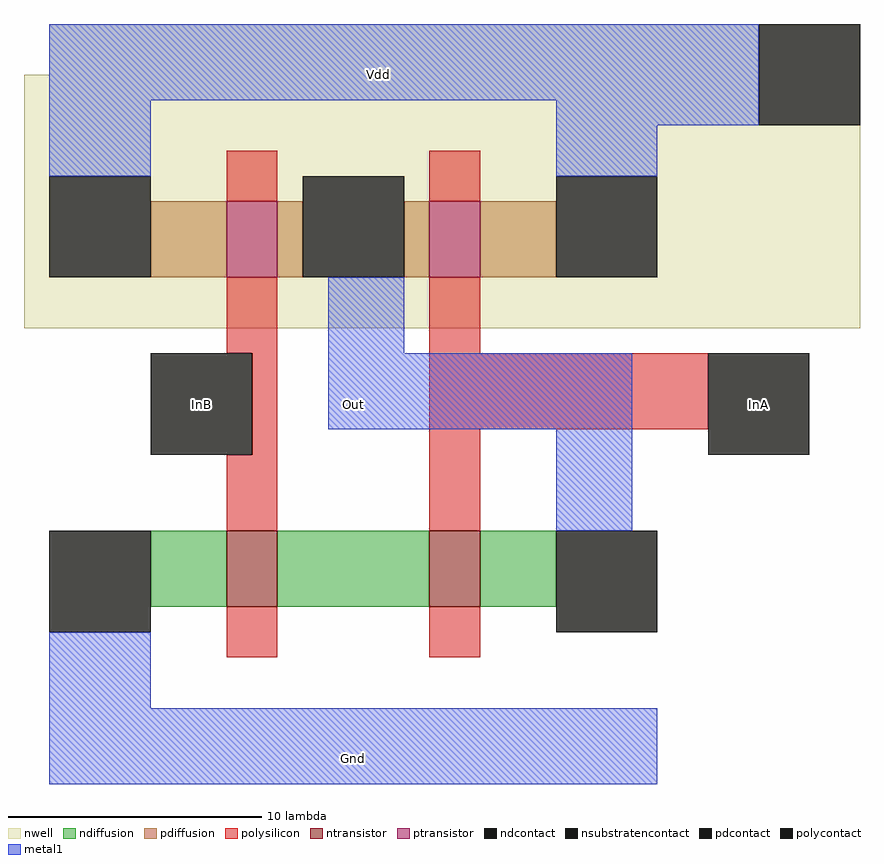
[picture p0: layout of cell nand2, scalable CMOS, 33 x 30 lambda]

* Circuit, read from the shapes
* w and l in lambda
.subckt nand2 Gnd InA InB Out Vdd
M1 n1 InB Gnd VSUBS nfet w=3 l=2
M2 Out InA n1 VSUBS nfet w=3 l=2
M3 Out InB Vdd Vdd pfet w=3 l=2
M4 Vdd InA Out Vdd pfet w=3 l=2
.ends

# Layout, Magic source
magic
tech scmos
<< nwell >>
rect -5 21 27 23
rect -6 11 27 21
<< polysilicon >>
rect 2 16 4 18
rect 10 16 12 18
rect 2 10 4 13
rect 3 6 4 10
rect 2 3 4 6
rect 10 10 12 13
rect 10 7 21 10
rect 10 3 12 7
rect 2 -2 4 0
rect 10 -2 12 0
<< ndiffusion >>
rect -1 0 2 3
rect 4 0 10 3
rect 12 0 15 3
<< pdiffusion >>
rect -1 13 2 16
rect 4 13 5 16
rect 9 13 10 16
rect 12 13 15 16
<< metal1 >>
rect -5 20 23 23
rect -5 17 -1 20
rect 15 19 23 20
rect 15 17 19 19
rect 6 10 9 13
rect 6 7 18 10
rect 15 3 18 7
rect -5 -4 -1 -1
rect -5 -7 19 -4
<< ntransistor >>
rect 2 0 4 3
rect 10 0 12 3
<< ptransistor >>
rect 2 13 4 16
rect 10 13 12 16
<< polycontact >>
rect -1 6 3 10
rect 21 6 25 10
<< ndcontact >>
rect -5 -1 -1 3
rect 15 -1 19 3
<< pdcontact >>
rect -5 13 -1 17
rect 5 13 9 17
rect 15 13 19 17
<< nsubstratencontact >>
rect 23 19 27 23
<< labels >>
rlabel polycontact 23 8 23 8 7 InA
rlabel polycontact 1 8 1 8 1 InB
rlabel metal1 8 21 8 21 5 Vdd
rlabel metal1 7 -6 7 -6 1 Gnd
rlabel metal1 7 8 7 8 1 Out
<< end >>
